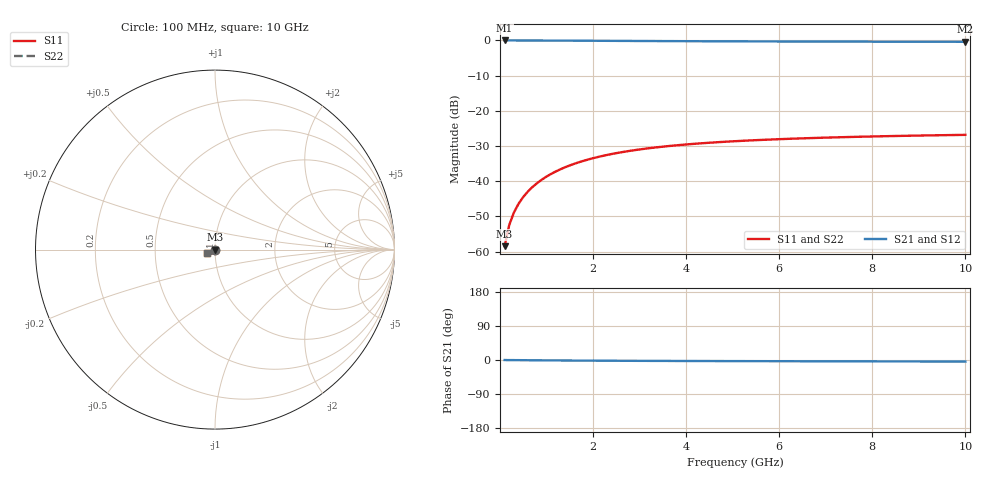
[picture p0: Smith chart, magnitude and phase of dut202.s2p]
! Touchstone file exported from HFSS 2024.1.0
!  File:  C:/UserFiles/LocalFiles/RDL_TSV_Batchsim/temp_TSV1_202_1778757304.aedt
!  Generated:  07:19:03 PM May 14, 2026
!  Design:  TSV1
!  Project:  temp_TSV1_202_1778757304
!  Setup:  Setup1
!  Solution:  Sweep
! Variables:
!  dtsv = 12.21um
!  hbump = 3um
!  htsv = 61.77um
!  lrdl = 252.1521522um
!  p = 40
!  p1 = 42.87um
!  t = 500um
!  trdl = 3um
!  wrdl = 24.89489489um
# GHz S MA R 50.000000
! Terminal data exported
! Port[1] = TSV22_T1
! Port[2] = TSV22_T2
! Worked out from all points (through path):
!   100 points, 100 MHz to 10 GHz, reference 50 ohm
!   highest |S21| = 0.00 dB at 100 MHz (marker M1); lowest = -0.4 dB at 10 GHz (marker M2)
!   lowest |S11| = -58.4 dB at 100 MHz (marker M3), VSWR 1.00, Z = 50 - j0.12 ohm
!   |S11| at or under -10 dB: start of sweep to end of sweep
!   |S22| runs from -58.4 to -26.8 dB; largest |S21 - S12| = 2.3e-15
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0.1  0.001197 -87.4  0.9999 -0.1  0.9999 -0.1  0.001197 -87.4
! Gamma 0 0 0 0
! Port Impedance 50 0 50 0
0.2  0.002402 -90.8  0.9998 -0.2  0.9998 -0.2  0.002402 -90.8
0.3  0.003603 -93.0  0.9996 -0.3  0.9996 -0.3  0.003603 -93.0
0.4  0.004797 -94.8  0.9994 -0.4  0.9994 -0.4  0.004797 -94.8
0.5  0.005979 -96.6  0.9991 -0.5  0.9991 -0.5  0.005979 -96.6
0.6  0.007148 -98.2  0.9987 -0.6  0.9987 -0.6  0.007148 -98.2
0.7  0.008302 -99.8  0.9983 -0.7  0.9983 -0.7  0.008302 -99.8
0.8  0.009439 -101.3  0.9979 -0.8  0.9979 -0.8  0.009439 -101.3
0.9  0.01056 -102.8  0.9974 -0.9  0.9974 -0.9  0.01056 -102.8
1.1  0.01273 -105.7  0.9962 -1.1  0.9962 -1.1  0.01273 -105.7
1.4  0.01581 -109.8  0.9943 -1.3  0.9943 -1.3  0.01581 -109.8
1.6  0.01773 -112.4  0.9929 -1.5  0.9929 -1.5  0.01773 -112.4
1.8  0.01955 -114.9  0.9915 -1.6  0.9915 -1.6  0.01955 -114.9
2.1  0.02208 -118.4  0.9892 -1.8  0.9892 -1.8  0.02208 -118.4
2.5  0.02509 -122.7  0.9862 -2.0  0.9862 -2.0  0.02509 -122.7
2.9  0.02771 -126.5  0.9834 -2.2  0.9834 -2.2  0.02771 -126.5
3.4  0.03052 -130.8  0.98 -2.4  0.98 -2.4  0.03052 -130.8
4.2  0.03412 -136.5  0.9752 -2.7  0.9752 -2.7  0.03412 -136.5
5.1  0.03722 -141.7  0.9707 -3.0  0.9707 -3.0  0.03722 -141.7
6.7  0.0411 -148.8  0.9646 -3.4  0.9646 -3.4  0.0411 -148.8
8.4  0.04383 -154.4  0.9602 -3.7  0.9602 -3.7  0.04383 -154.4
10  0.04562 -158.6  0.9572 -4.1  0.9572 -4.1  0.04562 -158.6
